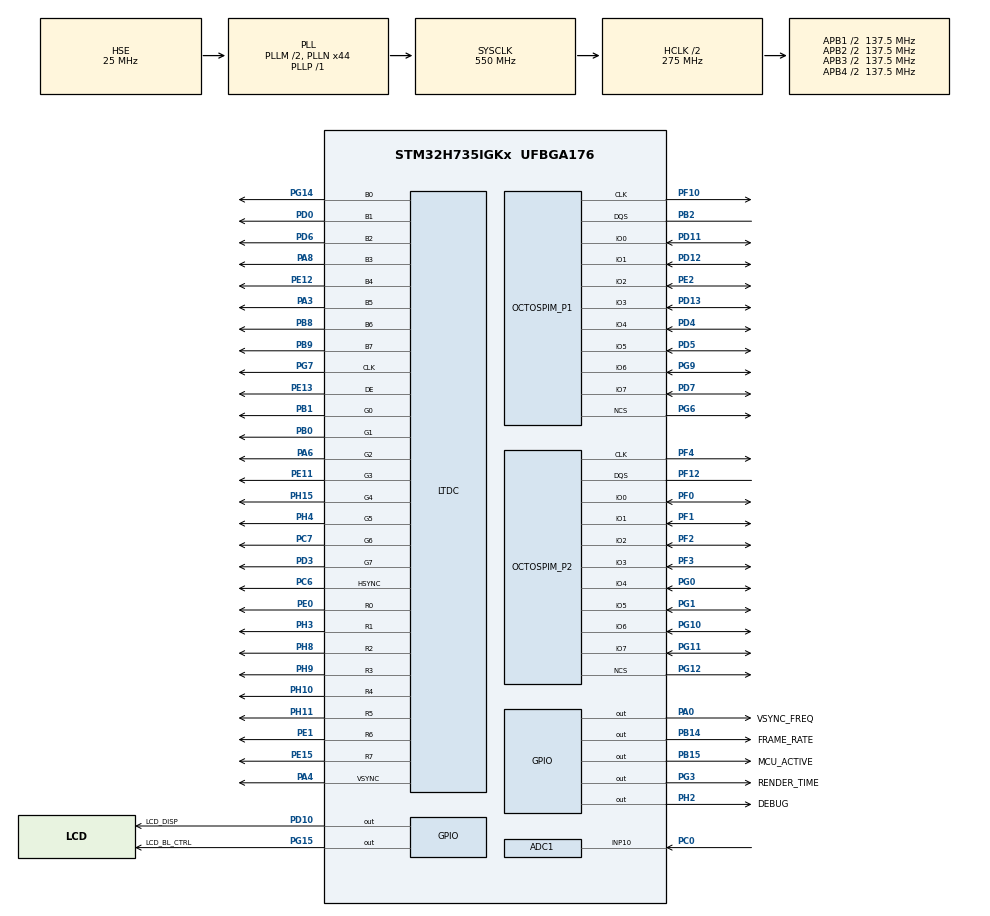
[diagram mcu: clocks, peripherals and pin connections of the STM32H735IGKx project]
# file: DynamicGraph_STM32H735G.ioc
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ADC1.Channel-0\#ChannelRegularConversion=ADC_CHANNEL_10
ADC1.ClockPrescaler=ADC_CLOCK_ASYNC_DIV4
ADC1.ContinuousConvMode=DISABLE
ADC1.ConversionDataManagement=ADC_CONVERSIONDATA_DMA_CIRCULAR
ADC1.ExternalTrigConv=ADC_EXTERNALTRIG_T15_TRGO
ADC1.NbrOfConversionFlag=1
ADC1.OffsetNumber-0\#ChannelRegularConversion=ADC_OFFSET_NONE
ADC1.OffsetSignedSaturation-0\#ChannelRegularConversion=DISABLE
ADC1.Overrun=ADC_OVR_DATA_OVERWRITTEN
ADC1.Rank-0\#ChannelRegularConversion=1
ADC1.SamplingTime-0\#ChannelRegularConversion=ADC_SAMPLETIME_16CYCLES_5
ADC1.master=1
CORTEX_M7.AccessPermission-Cortex_Memory_Protection_Unit_Region0_Settings=MPU_REGION_FULL_ACCESS
CORTEX_M7.AccessPermission-Cortex_Memory_Protection_Unit_Region2_Settings=MPU_REGION_FULL_ACCESS
CORTEX_M7.AccessPermission-Cortex_Memory_Protection_Unit_Region4_Settings=MPU_REGION_FULL_ACCESS
CORTEX_M7.BaseAddress-Cortex_Memory_Protection_Unit_Region0_Settings=0x24000000
CORTEX_M7.BaseAddress-Cortex_Memory_Protection_Unit_Region1_Settings=0x70000000
CORTEX_M7.BaseAddress-Cortex_Memory_Protection_Unit_Region2_Settings=0x70000000
CORTEX_M7.BaseAddress-Cortex_Memory_Protection_Unit_Region3_Settings=0x90000000
CORTEX_M7.BaseAddress-Cortex_Memory_Protection_Unit_Region4_Settings=0x90000000
CORTEX_M7.CPU_DCache=Enabled
CORTEX_M7.CPU_ICache=Enabled
CORTEX_M7.DisableExec-Cortex_Memory_Protection_Unit_Region0_Settings=MPU_INSTRUCTION_ACCESS_DISABLE
CORTEX_M7.DisableExec-Cortex_Memory_Protection_Unit_Region1_Settings=MPU_INSTRUCTION_ACCESS_DISABLE
CORTEX_M7.DisableExec-Cortex_Memory_Protection_Unit_Region2_Settings=MPU_INSTRUCTION_ACCESS_DISABLE
CORTEX_M7.DisableExec-Cortex_Memory_Protection_Unit_Region3_Settings=MPU_INSTRUCTION_ACCESS_DISABLE
CORTEX_M7.DisableExec-Cortex_Memory_Protection_Unit_Region4_Settings=MPU_INSTRUCTION_ACCESS_DISABLE
CORTEX_M7.Enable-Cortex_Memory_Protection_Unit_Region0_Settings=MPU_REGION_ENABLE
CORTEX_M7.Enable-Cortex_Memory_Protection_Unit_Region1_Settings=MPU_REGION_ENABLE
CORTEX_M7.Enable-Cortex_Memory_Protection_Unit_Region2_Settings=MPU_REGION_ENABLE
CORTEX_M7.Enable-Cortex_Memory_Protection_Unit_Region3_Settings=MPU_REGION_ENABLE
CORTEX_M7.Enable-Cortex_Memory_Protection_Unit_Region4_Settings=MPU_REGION_ENABLE
CORTEX_M7.IsBufferable-Cortex_Memory_Protection_Unit_Region0_Settings=MPU_ACCESS_BUFFERABLE
CORTEX_M7.IsBufferable-Cortex_Memory_Protection_Unit_Region2_Settings=MPU_ACCESS_BUFFERABLE
CORTEX_M7.IsCacheable-Cortex_Memory_Protection_Unit_Region0_Settings=MPU_ACCESS_CACHEABLE
CORTEX_M7.IsCacheable-Cortex_Memory_Protection_Unit_Region2_Settings=MPU_ACCESS_CACHEABLE
CORTEX_M7.IsCacheable-Cortex_Memory_Protection_Unit_Region4_Settings=MPU_ACCESS_CACHEABLE
CORTEX_M7.MPU_Control=MPU_PRIVILEGED_DEFAULT
CORTEX_M7.Size-Cortex_Memory_Protection_Unit_Region0_Settings=MPU_REGION_SIZE_512KB
CORTEX_M7.Size-Cortex_Memory_Protection_Unit_Region1_Settings=MPU_REGION_SIZE_512MB
CORTEX_M7.Size-Cortex_Memory_Protection_Unit_Region2_Settings=MPU_REGION_SIZE_8MB
CORTEX_M7.Size-Cortex_Memory_Protection_Unit_Region3_Settings=MPU_REGION_SIZE_512MB
CORTEX_M7.Size-Cortex_Memory_Protection_Unit_Region4_Settings=MPU_REGION_SIZE_64MB
DMA2D.ColorMode=DMA2D_OUTPUT_RGB888
DMA2D.Mode=DMA2D_R2M
Dma.ADC1.0.Direction=DMA_PERIPH_TO_MEMORY
Dma.ADC1.0.EventEnable=DISABLE
Dma.ADC1.0.FIFOMode=DMA_FIFOMODE_DISABLE
Dma.ADC1.0.Instance=DMA1_Stream0
Dma.ADC1.0.MemDataAlignment=DMA_MDATAALIGN_HALFWORD
Dma.ADC1.0.MemInc=DMA_MINC_ENABLE
Dma.ADC1.0.Mode=DMA_CIRCULAR
Dma.ADC1.0.PeriphDataAlignment=DMA_PDATAALIGN_HALFWORD
Dma.ADC1.0.PeriphInc=DMA_PINC_DISABLE
Dma.ADC1.0.Polarity=HAL_DMAMUX_REQ_GEN_RISING
Dma.ADC1.0.Priority=DMA_PRIORITY_LOW
Dma.ADC1.0.RequestNumber=1
Dma.ADC1.0.SignalID=NONE
Dma.ADC1.0.SyncEnable=DISABLE
Dma.ADC1.0.SyncPolarity=HAL_DMAMUX_SYNC_NO_EVENT
Dma.ADC1.0.SyncRequestNumber=1
Dma.ADC1.0.SyncSignalID=NONE
Dma.Request0=ADC1
FREERTOS.BinarySemaphores01=adcConvertCpltSem,Dynamic,NULL
FREERTOS.Queues01=adcDataQueue,32,uint16_t,0,Dynamic,NULL,NULL
FREERTOS.Tasks01=defaultTask,24,128,StartDefaultTask,Default,NULL,Dynamic,NULL,NULL;TouchGFXTask,24,1024,TouchGFX_Task,As external,NULL,Dynamic,NULL,NULL;AdcTask,24,1024,AdcTaskFunc,Default,NULL,Dynamic,NULL,NULL
FREERTOS.configTOTAL_HEAP_SIZE=75000
FREERTOS.configUSE_APPLICATION_TASK_TAG=1
FREERTOS.configUSE_IDLE_HOOK=1
FREERTOS.configUSE_NEWLIB_REENTRANT=1
LIBJPEG.RGB_ORDERING=BGR
LTDC.ActiveH=272
LTDC.ActiveW=480
LTDC.Alpha_L0=255
LTDC.FBStartAdress_L0=0x70000000
LTDC.FBStartAdress_L1=0x70000000
LTDC.HBP=13
LTDC.HFP=32
LTDC.HSync=41
LTDC.ImageHeight_L0=272
LTDC.ImageWidth_L0=480
LTDC.Layers=0
LTDC.PixelFormat_L0=LTDC_PIXEL_FORMAT_RGB888
LTDC.VSync=10
LTDC.WindowX1_L0=480
LTDC.WindowY1_L0=272
Mcu.Family=STM32H7
Mcu.Name=STM32H735IGKx
Mcu.Package=UFBGA176
NVIC.DMA1_Stream0_IRQn=true\:5\:0\:false\:false\:true\:true\:false\:true\:true
NVIC.DMA2D_IRQn=true\:5\:0\:true\:false\:true\:false\:true\:true\:true
NVIC.LTDC_IRQn=true\:5\:0\:true\:false\:true\:false\:true\:true\:true
NVIC.PriorityGroup=NVIC_PRIORITYGROUP_4
NVIC.TIM15_IRQn=true\:5\:0\:false\:false\:true\:true\:true\:true\:true
NVIC.TIM6_DAC_IRQn=true\:0\:0\:false\:false\:true\:false\:false\:true\:true
NVIC.TimeBase=TIM6_DAC_IRQn
NVIC.TimeBaseIP=TIM6
OCTOSPI1.ChipSelectBoundary=0
OCTOSPI1.ChipSelectHighTime=2
OCTOSPI1.ClockPrescaler=2
OCTOSPI1.FifoThreshold=4
OCTOSPI1.MemoryType=HAL_OSPI_MEMTYPE_MACRONIX
OCTOSPI2.AccessTime=6
OCTOSPI2.ChipSelectBoundary=23
OCTOSPI2.ChipSelectHighTime=4
OCTOSPI2.ClkChipSelectHighTime=0
OCTOSPI2.ClockPrescaler=2
OCTOSPI2.DelayBlockBypass=HAL_OSPI_DELAY_BLOCK_USED
OCTOSPI2.DelayHoldQuarterCycle=HAL_OSPI_DHQC_ENABLE
OCTOSPI2.DeviceSize=24
OCTOSPI2.FifoThreshold=4
OCTOSPI2.LatencyMode=HAL_OSPI_FIXED_LATENCY
OCTOSPI2.RWRecoveryTime=3
OCTOSPI2.Refresh=400
OCTOSPI2.WriteZeroLatency=HAL_OSPI_LATENCY_ON_WRITE
PA0.GPIO_Label=VSYNC_FREQ
PA0.GPIO_Speed=GPIO_SPEED_FREQ_VERY_HIGH
PA0.Signal=GPIO_Output
PA3.GPIO_Speed=GPIO_SPEED_FREQ_VERY_HIGH
PA3.Mode=RGB888
PA3.Signal=LTDC_B5
PA4.GPIO_Speed=GPIO_SPEED_FREQ_VERY_HIGH
PA4.Mode=RGB888
PA4.Signal=LTDC_VSYNC
PA6.GPIO_Speed=GPIO_SPEED_FREQ_VERY_HIGH
PA6.Mode=RGB888
PA6.Signal=LTDC_G2
PA8.GPIO_Speed=GPIO_SPEED_FREQ_VERY_HIGH
PA8.Mode=RGB888
PA8.Signal=LTDC_B3
PB0.GPIO_Speed=GPIO_SPEED_FREQ_VERY_HIGH
PB0.Mode=RGB888
PB0.Signal=LTDC_G1
PB1.GPIO_Speed=GPIO_SPEED_FREQ_VERY_HIGH
PB1.Mode=RGB888
PB1.Signal=LTDC_G0
PB14.GPIO_Label=FRAME_RATE
PB14.GPIO_Speed=GPIO_SPEED_FREQ_VERY_HIGH
PB14.Signal=GPIO_Output
PB15.GPIO_Label=MCU_ACTIVE
PB15.GPIO_Speed=GPIO_SPEED_FREQ_VERY_HIGH
PB15.Signal=GPIO_Output
PB2.Mode=OCTOSPI1_Port1_DQS
PB2.Signal=OCTOSPIM_P1_DQS
PB8.GPIO_Speed=GPIO_SPEED_FREQ_VERY_HIGH
PB8.Mode=RGB888
PB8.Signal=LTDC_B6
PB9.GPIO_Speed=GPIO_SPEED_FREQ_VERY_HIGH
PB9.Mode=RGB888
PB9.Signal=LTDC_B7
PC0.Signal=ADCx_INP10
PC6.GPIO_Speed=GPIO_SPEED_FREQ_VERY_HIGH
PC6.Mode=RGB888
PC6.Signal=LTDC_HSYNC
PC7.GPIO_Speed=GPIO_SPEED_FREQ_VERY_HIGH
PC7.Mode=RGB888
PC7.Signal=LTDC_G6
PD0.GPIO_Speed=GPIO_SPEED_FREQ_VERY_HIGH
PD0.Mode=RGB888
PD0.Signal=LTDC_B1
PD10.GPIO_Label=LCD_DISP
PD10.GPIO_PuPd=GPIO_NOPULL
PD10.GPIO_Speed=GPIO_SPEED_FREQ_LOW
PD10.PinState=GPIO_PIN_RESET
PD10.Signal=GPIO_Output
PD11.Mode=OCTOSPI1_IOL_Port1L
PD11.Signal=OCTOSPIM_P1_IO0
PD12.Mode=OCTOSPI1_IOL_Port1L
PD12.Signal=OCTOSPIM_P1_IO1
PD13.Mode=OCTOSPI1_IOL_Port1L
PD13.Signal=OCTOSPIM_P1_IO3
PD3.GPIO_Speed=GPIO_SPEED_FREQ_VERY_HIGH
PD3.Mode=RGB888
PD3.Signal=LTDC_G7
PD4.Mode=OCTOSPI1_IOH_Port1H
PD4.Signal=OCTOSPIM_P1_IO4
PD5.Mode=OCTOSPI1_IOH_Port1H
PD5.Signal=OCTOSPIM_P1_IO5
PD6.GPIO_Speed=GPIO_SPEED_FREQ_VERY_HIGH
PD6.Mode=RGB888
PD6.Signal=LTDC_B2
PD7.Mode=OCTOSPI1_IOH_Port1H
PD7.Signal=OCTOSPIM_P1_IO7
PE0.GPIO_Speed=GPIO_SPEED_FREQ_VERY_HIGH
PE0.Mode=RGB888
PE0.Signal=LTDC_R0
PE1.GPIO_Speed=GPIO_SPEED_FREQ_VERY_HIGH
PE1.Mode=RGB888
PE1.Signal=LTDC_R6
PE11.GPIO_Speed=GPIO_SPEED_FREQ_VERY_HIGH
PE11.Mode=RGB888
PE11.Signal=LTDC_G3
PE12.GPIO_Speed=GPIO_SPEED_FREQ_VERY_HIGH
PE12.Mode=RGB888
PE12.Signal=LTDC_B4
PE13.GPIO_Speed=GPIO_SPEED_FREQ_VERY_HIGH
PE13.Mode=RGB888
PE13.Signal=LTDC_DE
PE15.GPIO_Speed=GPIO_SPEED_FREQ_VERY_HIGH
PE15.Mode=RGB888
PE15.Signal=LTDC_R7
PE2.Mode=OCTOSPI1_IOL_Port1L
PE2.Signal=OCTOSPIM_P1_IO2
PF0.Mode=OCTOSPI2_IOL_Port2L
PF0.Signal=OCTOSPIM_P2_IO0
PF1.Mode=OCTOSPI2_IOL_Port2L
PF1.Signal=OCTOSPIM_P2_IO1
PF10.Mode=O1_P1_CLK
PF10.Signal=OCTOSPIM_P1_CLK
PF12.Mode=OCTOSPI2_Port2_DQS
PF12.Signal=OCTOSPIM_P2_DQS
PF2.Mode=OCTOSPI2_IOL_Port2L
PF2.Signal=OCTOSPIM_P2_IO2
PF3.Mode=OCTOSPI2_IOL_Port2L
PF3.Signal=OCTOSPIM_P2_IO3
PF4.Mode=O2_P2_CLK
PF4.Signal=OCTOSPIM_P2_CLK
PG0.Mode=OCTOSPI2_IOH_Port2H
PG0.Signal=OCTOSPIM_P2_IO4
PG1.Mode=OCTOSPI2_IOH_Port2H
PG1.Signal=OCTOSPIM_P2_IO5
PG10.Mode=OCTOSPI2_IOH_Port2H
PG10.Signal=OCTOSPIM_P2_IO6
PG11.Mode=OCTOSPI2_IOH_Port2H
PG11.Signal=OCTOSPIM_P2_IO7
PG12.Mode=OCTOSPI2_Port2_NCS
PG12.Signal=OCTOSPIM_P2_NCS
PG14.GPIO_Speed=GPIO_SPEED_FREQ_VERY_HIGH
PG14.Mode=RGB888
PG14.Signal=LTDC_B0
PG15.GPIO_Label=LCD_BL_CTRL
PG15.Signal=GPIO_Output
PG3.GPIO_Label=RENDER_TIME
PG3.GPIO_Speed=GPIO_SPEED_FREQ_VERY_HIGH
PG3.Signal=GPIO_Output
PG6.Mode=OCTOSPI1_Port1_NCS
PG6.Signal=OCTOSPIM_P1_NCS
PG7.GPIO_Speed=GPIO_SPEED_FREQ_VERY_HIGH
PG7.Mode=RGB888
PG7.Signal=LTDC_CLK
PG9.Mode=OCTOSPI1_IOH_Port1H
PG9.Signal=OCTOSPIM_P1_IO6
PH0-OSC_IN.Mode=HSE-External-Oscillator
PH0-OSC_IN.Signal=RCC_OSC_IN
PH1-OSC_OUT.Mode=HSE-External-Oscillator
PH1-OSC_OUT.Signal=RCC_OSC_OUT
PH10.GPIO_Speed=GPIO_SPEED_FREQ_VERY_HIGH
PH10.Mode=RGB888
PH10.Signal=LTDC_R4
PH11.GPIO_Speed=GPIO_SPEED_FREQ_VERY_HIGH
PH11.Mode=RGB888
PH11.Signal=LTDC_R5
PH15.GPIO_Speed=GPIO_SPEED_FREQ_VERY_HIGH
PH15.Mode=RGB888
PH15.Signal=LTDC_G4
PH2.GPIO_Label=DEBUG
PH2.GPIO_Speed=GPIO_SPEED_FREQ_VERY_HIGH
PH2.Signal=GPIO_Output
PH3.GPIO_Speed=GPIO_SPEED_FREQ_VERY_HIGH
PH3.Mode=RGB888
PH3.Signal=LTDC_R1
PH4.GPIO_Speed=GPIO_SPEED_FREQ_VERY_HIGH
PH4.Mode=RGB888
PH4.Signal=LTDC_G5
PH8.GPIO_Speed=GPIO_SPEED_FREQ_VERY_HIGH
PH8.Mode=RGB888
PH8.Signal=LTDC_R2
PH9.GPIO_Speed=GPIO_SPEED_FREQ_VERY_HIGH
PH9.Mode=RGB888
PH9.Signal=LTDC_R3
ProjectManager.HeapSize=0x1000
ProjectManager.StackSize=0x1000
ProjectManager.TargetToolchain=STM32CubeIDE
RCC.ADCFreq_Value=100000000
RCC.APB1Freq_Value=137500000
RCC.APB2Freq_Value=137500000
RCC.APB3Freq_Value=137500000
RCC.APB4Freq_Value=137500000
RCC.CortexFreq_Value=550000000
RCC.D1PPRE=RCC_APB3_DIV2
RCC.D2PPRE1=RCC_APB1_DIV2
RCC.D2PPRE2=RCC_APB2_DIV2
RCC.D3PPRE=RCC_APB4_DIV2
RCC.DIVM1=2
RCC.DIVM2=5
RCC.DIVM3=25
RCC.DIVN1=44
RCC.DIVN2=80
RCC.DIVN3=288
RCC.DIVP1=1
RCC.DIVP2=4
RCC.DIVR3=30
RCC.HCLKFreq_Value=275000000
RCC.HPRE=RCC_HCLK_DIV2
RCC.PLL2FRACN=0
RCC.PLL3FRACN=0
RCC.PLLFRACN=0
RCC.PLLSourceVirtual=RCC_PLLSOURCE_HSE
RCC.QSPICLockSelection=RCC_OSPICLKSOURCE_PLL2
RCC.SYSCLKFreq_VALUE=550000000
RCC.SYSCLKSource=RCC_SYSCLKSOURCE_PLLCLK
RCC.SupplySource=PWR_DIRECT_SMPS_SUPPLY
RCC.USBFreq_Value=275000000
SH.ADCx_INP10.0=ADC1_INP10,IN10-Single-Ended
STMicroelectronics.X-CUBE-TOUCHGFX.4.23.2.ApplicationCcGraphicsJjApplication=TouchGFXOoGenerator
STMicroelectronics.X-CUBE-TOUCHGFX.4.23.2.tgfx_address1=0x70000000
STMicroelectronics.X-CUBE-TOUCHGFX.4.23.2.tgfx_address2=0x70060000
STMicroelectronics.X-CUBE-TOUCHGFX.4.23.2.tgfx_buffering_strategy=Double
STMicroelectronics.X-CUBE-TOUCHGFX.4.23.2.tgfx_display_interface=disp_ltdc
STMicroelectronics.X-CUBE-TOUCHGFX.4.23.2.tgfx_hardware_accelerator=dma_2d
STMicroelectronics.X-CUBE-TOUCHGFX.4.23.2.tgfx_location=Allocate
STMicroelectronics.X-CUBE-TOUCHGFX.4.23.2.tgfx_vector_rendering=Disabled
STMicroelectronics.X-CUBE-TOUCHGFX.4.23.2.tgfx_video=Disabled
STMicroelectronics.X-CUBE-TOUCHGFX.4.23.2.tgfx_video_buffer_format=RGB888\:3
STMicroelectronics.X-CUBE-TOUCHGFX.4.23.2.tgfx_video_height=272
STMicroelectronics.X-CUBE-TOUCHGFX.4.23.2.tgfx_video_strategy=1
STMicroelectronics.X-CUBE-TOUCHGFX.4.23.2.tgfx_video_width=480
STMicroelectronics.X-CUBE-TOUCHGFX.4.23.2.tgfx_vsync=vsync_ltdc
TIM15.Period=159
TIM15.Prescaler=27499
TIM15.TIM_MasterOutputTrigger=TIM_TRGO_UPDATE
VP_CRC_VS_CRC.Mode=CRC_Activate
VP_DMA2D_VS_DMA2D.Mode=DMA2D_Activate
VP_FREERTOS_VS_CMSIS_V2.Mode=CMSIS_V2
VP_LIBJPEG_VS_JPEGLIB.Mode=Enabled
VP_OCTOSPI1_VS_octo.Mode=octo_mode
VP_OCTOSPI2_VS_octo.Mode=hyperbus_mode
VP_STMicroelectronics.X-CUBE-TOUCHGFX_VS_GraphicsJjApplication_4.23.2.Mode=GraphicsJjApplication
VP_SYS_VS_tim6.Mode=TIM6
VP_TIM15_VS_ClockSourceINT.Mode=Internal
board=custom

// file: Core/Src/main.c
/* USER CODE BEGIN Header */
/**
  ******************************************************************************
  * @file           : main.c
  * @brief          : Main program body
  ******************************************************************************
  * @attention
  *
  * <h2><center>&copy; Copyright (c) 2020 STMicroelectronics.
  * All rights reserved.</center></h2>
  *
  * This software component is licensed by ST under Ultimate Liberty license
  * SLA0044, the "License"; You may not use this file except in compliance with
  * the License. You may obtain a copy of the License at:
  *                             www.st.com/SLA0044
  *
  ******************************************************************************
  */
/* USER CODE END Header */
#include "main.h"
#include "cmsis_os.h"
#include "libjpeg.h"
#include "app_touchgfx.h"

/* USER CODE BEGIN Includes */
#include "stm32h735g_discovery_ospi.h"
#include "stm32h7xx_hal_ospi.h"
/* USER CODE END Includes */

ADC_HandleTypeDef hadc1;
DMA_HandleTypeDef hdma_adc1;

CRC_HandleTypeDef hcrc;

DMA2D_HandleTypeDef hdma2d;

LTDC_HandleTypeDef hltdc;

OSPI_HandleTypeDef hospi1;
OSPI_HandleTypeDef hospi2;

TIM_HandleTypeDef htim15;

/* Definitions for defaultTask */
osThreadId_t defaultTaskHandle;
const osThreadAttr_t defaultTask_attributes = {
  .name = "defaultTask",
  .stack_size = 128 * 4,
  .priority = (osPriority_t) osPriorityNormal,
};
/* Definitions for TouchGFXTask */
osThreadId_t TouchGFXTaskHandle;
const osThreadAttr_t TouchGFXTask_attributes = {
  .name = "TouchGFXTask",
  .stack_size = 1024 * 4,
  .priority = (osPriority_t) osPriorityNormal,
};
/* Definitions for AdcTask */
osThreadId_t AdcTaskHandle;
const osThreadAttr_t AdcTask_attributes = {
  .name = "AdcTask",
  .stack_size = 1024 * 4,
  .priority = (osPriority_t) osPriorityNormal,
};
/* Definitions for adcDataQueue */
osMessageQueueId_t adcDataQueueHandle;
const osMessageQueueAttr_t adcDataQueue_attributes = {
  .name = "adcDataQueue"
};
/* Definitions for adcConvertCpltSem */
osSemaphoreId_t adcConvertCpltSemHandle;
const osSemaphoreAttr_t adcConvertCpltSem_attributes = {
  .name = "adcConvertCpltSem"
};
/* USER CODE BEGIN PV */
uint32_t aADCxData;
/* USER CODE END PV */

void SystemClock_Config(void);
void PeriphCommonClock_Config(void);
static void MPU_Config(void);
static void MX_GPIO_Init(void);
static void MX_DMA_Init(void);
static void MX_DMA2D_Init(void);
static void MX_LTDC_Init(void);
static void MX_OCTOSPI1_Init(void);
static void MX_OCTOSPI2_Init(void);
static void MX_ADC1_Init(void);
static void MX_CRC_Init(void);
static void MX_TIM15_Init(void);
void StartDefaultTask(void *argument);
extern void TouchGFX_Task(void *argument);
void AdcTaskFunc(void *argument);

/* USER CODE BEGIN 0 */
void HAL_ADC_ConvCpltCallback(ADC_HandleTypeDef* hadc)
{
	HAL_GPIO_TogglePin(DEBUG_GPIO_Port, DEBUG_Pin);
    osSemaphoreRelease(adcConvertCpltSemHandle);
}

/* USER CODE END 0 */

int main(void)
{

  /* MPU Configuration--------------------------------------------------------*/
  MPU_Config();

  /* Enable the CPU Cache */

  /* Enable I-Cache---------------------------------------------------------*/
  SCB_EnableICache();

  /* Enable D-Cache---------------------------------------------------------*/
  SCB_EnableDCache();

  /* MCU Configuration--------------------------------------------------------*/

  /* Reset of all peripherals, Initializes the Flash interface and the Systick. */
  HAL_Init();

  /* Configure the system clock */
  SystemClock_Config();

/* Configure the peripherals common clocks */
  PeriphCommonClock_Config();

  /* Initialize all configured peripherals */
  MX_GPIO_Init();
  MX_DMA_Init();
  MX_DMA2D_Init();
  MX_LTDC_Init();
  MX_OCTOSPI1_Init();
  MX_OCTOSPI2_Init();
  MX_LIBJPEG_Init();
  MX_ADC1_Init();
  MX_CRC_Init();
  MX_TIM15_Init();
  MX_TouchGFX_Init();
  /* Call PreOsInit function */
  MX_TouchGFX_PreOSInit();

  /* Init scheduler */
  osKernelInitialize();

  /* Create the semaphores(s) */
  /* creation of adcConvertCpltSem */
  adcConvertCpltSemHandle = osSemaphoreNew(1, 0, &adcConvertCpltSem_attributes);

  /* Create the queue(s) */
  /* creation of adcDataQueue */
  adcDataQueueHandle = osMessageQueueNew (32, sizeof(uint16_t), &adcDataQueue_attributes);

  /* Create the thread(s) */
  /* creation of defaultTask */
  defaultTaskHandle = osThreadNew(StartDefaultTask, NULL, &defaultTask_attributes);

  /* creation of TouchGFXTask */
  TouchGFXTaskHandle = osThreadNew(TouchGFX_Task, NULL, &TouchGFXTask_attributes);

  /* creation of AdcTask */
  AdcTaskHandle = osThreadNew(AdcTaskFunc, NULL, &AdcTask_attributes);

  /* Start scheduler */
  osKernelStart();

  /* We should never get here as control is now taken by the scheduler */

  /* Infinite loop */
  while (1)
  {

  }
}

void SystemClock_Config(void)
{
  RCC_OscInitTypeDef RCC_OscInitStruct = {0};
  RCC_ClkInitTypeDef RCC_ClkInitStruct = {0};

  /** Supply configuration update enable
  */
  HAL_PWREx_ConfigSupply(PWR_DIRECT_SMPS_SUPPLY);

  /** Configure the main internal regulator output voltage
  */
  __HAL_PWR_VOLTAGESCALING_CONFIG(PWR_REGULATOR_VOLTAGE_SCALE0);

  while(!__HAL_PWR_GET_FLAG(PWR_FLAG_VOSRDY)) {}

  /** Initializes the RCC Oscillators according to the specified parameters
  * in the RCC_OscInitTypeDef structure.
  */
  RCC_OscInitStruct.OscillatorType = RCC_OSCILLATORTYPE_HSE;
  RCC_OscInitStruct.HSEState = RCC_HSE_ON;
  RCC_OscInitStruct.PLL.PLLState = RCC_PLL_ON;
  RCC_OscInitStruct.PLL.PLLSource = RCC_PLLSOURCE_HSE;
  RCC_OscInitStruct.PLL.PLLM = 2;
  RCC_OscInitStruct.PLL.PLLN = 44;
  RCC_OscInitStruct.PLL.PLLP = 1;
  RCC_OscInitStruct.PLL.PLLQ = 2;
  RCC_OscInitStruct.PLL.PLLR = 2;
  RCC_OscInitStruct.PLL.PLLRGE = RCC_PLL1VCIRANGE_3;
  RCC_OscInitStruct.PLL.PLLVCOSEL = RCC_PLL1VCOWIDE;
  RCC_OscInitStruct.PLL.PLLFRACN = 0;
  if (HAL_RCC_OscConfig(&RCC_OscInitStruct) != HAL_OK)
  {
    Error_Handler();
  }

  /** Initializes the CPU, AHB and APB buses clocks
  */
  RCC_ClkInitStruct.ClockType = RCC_CLOCKTYPE_HCLK|RCC_CLOCKTYPE_SYSCLK
                              |RCC_CLOCKTYPE_PCLK1|RCC_CLOCKTYPE_PCLK2
                              |RCC_CLOCKTYPE_D3PCLK1|RCC_CLOCKTYPE_D1PCLK1;
  RCC_ClkInitStruct.SYSCLKSource = RCC_SYSCLKSOURCE_PLLCLK;
  RCC_ClkInitStruct.SYSCLKDivider = RCC_SYSCLK_DIV1;
  RCC_ClkInitStruct.AHBCLKDivider = RCC_HCLK_DIV2;
  RCC_ClkInitStruct.APB3CLKDivider = RCC_APB3_DIV2;
  RCC_ClkInitStruct.APB1CLKDivider = RCC_APB1_DIV2;
  RCC_ClkInitStruct.APB2CLKDivider = RCC_APB2_DIV2;
  RCC_ClkInitStruct.APB4CLKDivider = RCC_APB4_DIV2;

  if (HAL_RCC_ClockConfig(&RCC_ClkInitStruct, FLASH_LATENCY_3) != HAL_OK)
  {
    Error_Handler();
  }
}

void PeriphCommonClock_Config(void)
{
  RCC_PeriphCLKInitTypeDef PeriphClkInitStruct = {0};

  /** Initializes the peripherals clock
  */
  PeriphClkInitStruct.PeriphClockSelection = RCC_PERIPHCLK_OSPI|RCC_PERIPHCLK_ADC;
  PeriphClkInitStruct.PLL2.PLL2M = 5;
  PeriphClkInitStruct.PLL2.PLL2N = 80;
  PeriphClkInitStruct.PLL2.PLL2P = 4;
  PeriphClkInitStruct.PLL2.PLL2Q = 2;
  PeriphClkInitStruct.PLL2.PLL2R = 2;
  PeriphClkInitStruct.PLL2.PLL2RGE = RCC_PLL2VCIRANGE_2;
  PeriphClkInitStruct.PLL2.PLL2VCOSEL = RCC_PLL2VCOWIDE;
  PeriphClkInitStruct.PLL2.PLL2FRACN = 0;
  PeriphClkInitStruct.OspiClockSelection = RCC_OSPICLKSOURCE_PLL2;
  PeriphClkInitStruct.AdcClockSelection = RCC_ADCCLKSOURCE_PLL2;
  if (HAL_RCCEx_PeriphCLKConfig(&PeriphClkInitStruct) != HAL_OK)
  {
    Error_Handler();
  }
}

static void MX_ADC1_Init(void)
{

  ADC_MultiModeTypeDef multimode = {0};
  ADC_ChannelConfTypeDef sConfig = {0};

  /** Common config
  */
  hadc1.Instance = ADC1;
  hadc1.Init.ClockPrescaler = ADC_CLOCK_ASYNC_DIV4;
  hadc1.Init.Resolution = ADC_RESOLUTION_16B;
  hadc1.Init.ScanConvMode = ADC_SCAN_DISABLE;
  hadc1.Init.EOCSelection = ADC_EOC_SINGLE_CONV;
  hadc1.Init.LowPowerAutoWait = DISABLE;
  hadc1.Init.ContinuousConvMode = DISABLE;
  hadc1.Init.NbrOfConversion = 1;
  hadc1.Init.DiscontinuousConvMode = DISABLE;
  hadc1.Init.ExternalTrigConv = ADC_EXTERNALTRIG_T15_TRGO;
  hadc1.Init.ExternalTrigConvEdge = ADC_EXTERNALTRIGCONVEDGE_RISING;
  hadc1.Init.ConversionDataManagement = ADC_CONVERSIONDATA_DMA_CIRCULAR;
  hadc1.Init.Overrun = ADC_OVR_DATA_OVERWRITTEN;
  hadc1.Init.LeftBitShift = ADC_LEFTBITSHIFT_NONE;
  hadc1.Init.OversamplingMode = DISABLE;
  if (HAL_ADC_Init(&hadc1) != HAL_OK)
  {
    Error_Handler();
  }

  /** Configure the ADC multi-mode
  */
  multimode.Mode = ADC_MODE_INDEPENDENT;
  if (HAL_ADCEx_MultiModeConfigChannel(&hadc1, &multimode) != HAL_OK)
  {
    Error_Handler();
  }

  /** Configure Regular Channel
  */
  sConfig.Channel = ADC_CHANNEL_10;
  sConfig.Rank = ADC_REGULAR_RANK_1;
  sConfig.SamplingTime = ADC_SAMPLETIME_16CYCLES_5;
  sConfig.SingleDiff = ADC_SINGLE_ENDED;
  sConfig.OffsetNumber = ADC_OFFSET_NONE;
  sConfig.Offset = 0;
  sConfig.OffsetSignedSaturation = DISABLE;
  if (HAL_ADC_ConfigChannel(&hadc1, &sConfig) != HAL_OK)
  {
    Error_Handler();
  }
  /* USER CODE BEGIN ADC1_Init 2 */
  if(HAL_ADCEx_Calibration_Start(&hadc1, ADC_CALIB_OFFSET, ADC_SINGLE_ENDED) != HAL_OK)
  {
	  Error_Handler();
  }
  /* USER CODE END ADC1_Init 2 */

}

static void MX_CRC_Init(void)
{

  hcrc.Instance = CRC;
  hcrc.Init.DefaultPolynomialUse = DEFAULT_POLYNOMIAL_ENABLE;
  hcrc.Init.DefaultInitValueUse = DEFAULT_INIT_VALUE_ENABLE;
  hcrc.Init.InputDataInversionMode = CRC_INPUTDATA_INVERSION_NONE;
  hcrc.Init.OutputDataInversionMode = CRC_OUTPUTDATA_INVERSION_DISABLE;
  hcrc.InputDataFormat = CRC_INPUTDATA_FORMAT_BYTES;
  if (HAL_CRC_Init(&hcrc) != HAL_OK)
  {
    Error_Handler();
  }

}

static void MX_DMA2D_Init(void)
{

  hdma2d.Instance = DMA2D;
  hdma2d.Init.Mode = DMA2D_R2M;
  hdma2d.Init.ColorMode = DMA2D_OUTPUT_RGB888;
  hdma2d.Init.OutputOffset = 0;
  if (HAL_DMA2D_Init(&hdma2d) != HAL_OK)
  {
    Error_Handler();
  }

}

static void MX_LTDC_Init(void)
{

  LTDC_LayerCfgTypeDef pLayerCfg = {0};

  hltdc.Instance = LTDC;
  hltdc.Init.HSPolarity = LTDC_HSPOLARITY_AL;
  hltdc.Init.VSPolarity = LTDC_VSPOLARITY_AL;
  hltdc.Init.DEPolarity = LTDC_DEPOLARITY_AL;
  hltdc.Init.PCPolarity = LTDC_PCPOLARITY_IPC;
  hltdc.Init.HorizontalSync = 40;
  hltdc.Init.VerticalSync = 9;
  hltdc.Init.AccumulatedHBP = 53;
  hltdc.Init.AccumulatedVBP = 11;
  hltdc.Init.AccumulatedActiveW = 533;
  hltdc.Init.AccumulatedActiveH = 283;
  hltdc.Init.TotalWidth = 565;
  hltdc.Init.TotalHeigh = 285;
  hltdc.Init.Backcolor.Blue = 0;
  hltdc.Init.Backcolor.Green = 0;
  hltdc.Init.Backcolor.Red = 0;
  if (HAL_LTDC_Init(&hltdc) != HAL_OK)
  {
    Error_Handler();
  }
  pLayerCfg.WindowX0 = 0;
  pLayerCfg.WindowX1 = 480;
  pLayerCfg.WindowY0 = 0;
  pLayerCfg.WindowY1 = 272;
  pLayerCfg.PixelFormat = LTDC_PIXEL_FORMAT_RGB888;
  pLayerCfg.Alpha = 255;
  pLayerCfg.Alpha0 = 0;
  pLayerCfg.BlendingFactor1 = LTDC_BLENDING_FACTOR1_CA;
  pLayerCfg.BlendingFactor2 = LTDC_BLENDING_FACTOR2_CA;
  pLayerCfg.FBStartAdress = 0x70000000;
  pLayerCfg.ImageWidth = 480;
  pLayerCfg.ImageHeight = 272;
  pLayerCfg.Backcolor.Blue = 0;
  pLayerCfg.Backcolor.Green = 0;
  pLayerCfg.Backcolor.Red = 0;
  if (HAL_LTDC_ConfigLayer(&hltdc, &pLayerCfg, 0) != HAL_OK)
  {
    Error_Handler();
  }

}

static void MX_OCTOSPI1_Init(void)
{

  /* USER CODE BEGIN OCTOSPI1_Init 0 */
  BSP_OSPI_NOR_Init_t ospi_nor_int;
  /* USER CODE END OCTOSPI1_Init 0 */

  OSPIM_CfgTypeDef sOspiManagerCfg = {0};

  /* OCTOSPI1 parameter configuration*/
  hospi1.Instance = OCTOSPI1;
  hospi1.Init.FifoThreshold = 4;
  hospi1.Init.DualQuad = HAL_OSPI_DUALQUAD_DISABLE;
  hospi1.Init.MemoryType = HAL_OSPI_MEMTYPE_MACRONIX;
  hospi1.Init.DeviceSize = 32;
  hospi1.Init.ChipSelectHighTime = 2;
  hospi1.Init.FreeRunningClock = HAL_OSPI_FREERUNCLK_DISABLE;
  hospi1.Init.ClockMode = HAL_OSPI_CLOCK_MODE_0;
  hospi1.Init.WrapSize = HAL_OSPI_WRAP_NOT_SUPPORTED;
  hospi1.Init.ClockPrescaler = 2;
  hospi1.Init.SampleShifting = HAL_OSPI_SAMPLE_SHIFTING_NONE;
  hospi1.Init.DelayHoldQuarterCycle = HAL_OSPI_DHQC_DISABLE;
  hospi1.Init.ChipSelectBoundary = 0;
  hospi1.Init.DelayBlockBypass = HAL_OSPI_DELAY_BLOCK_BYPASSED;
  hospi1.Init.MaxTran = 0;
  hospi1.Init.Refresh = 0;
  if (HAL_OSPI_Init(&hospi1) != HAL_OK)
  {
    Error_Handler();
  }
  sOspiManagerCfg.ClkPort = 1;
  sOspiManagerCfg.DQSPort = 1;
  sOspiManagerCfg.NCSPort = 1;
  sOspiManagerCfg.IOLowPort = HAL_OSPIM_IOPORT_1_LOW;
  sOspiManagerCfg.IOHighPort = HAL_OSPIM_IOPORT_1_HIGH;
  if (HAL_OSPIM_Config(&hospi1, &sOspiManagerCfg, HAL_OSPI_TIMEOUT_DEFAULT_VALUE) != HAL_OK)
  {
    Error_Handler();
  }
  /* USER CODE BEGIN OCTOSPI1_Init 2 */
  HAL_OSPI_DeInit(&hospi1);
  ospi_nor_int.InterfaceMode = BSP_OSPI_NOR_OPI_MODE;
  ospi_nor_int.TransferRate  = BSP_OSPI_NOR_DTR_TRANSFER;
  BSP_OSPI_NOR_DeInit(0);
  if(BSP_OSPI_NOR_Init(0, &ospi_nor_int) != BSP_ERROR_NONE)
  {
    Error_Handler();
  }
  if(BSP_OSPI_NOR_EnableMemoryMappedMode(0) != BSP_ERROR_NONE)
  {
    Error_Handler();
  }
  /* USER CODE END OCTOSPI1_Init 2 */

}

static void MX_OCTOSPI2_Init(void)
{

  /* USER CODE BEGIN OCTOSPI2_Init 0 */
  BSP_OSPI_RAM_Init_t ospi_ram_init;
  /* USER CODE END OCTOSPI2_Init 0 */

  OSPIM_CfgTypeDef sOspiManagerCfg = {0};
  OSPI_HyperbusCfgTypeDef sHyperBusCfg = {0};

  /* USER CODE BEGIN OCTOSPI2_Init 1 */
  OSPI_HyperbusCmdTypeDef sCommand = {0};
  OSPI_MemoryMappedTypeDef sMemMappedCfg = {0};
  /* USER CODE END OCTOSPI2_Init 1 */
  /* OCTOSPI2 parameter configuration*/
  hospi2.Instance = OCTOSPI2;
  hospi2.Init.FifoThreshold = 4;
  hospi2.Init.DualQuad = HAL_OSPI_DUALQUAD_DISABLE;
  hospi2.Init.MemoryType = HAL_OSPI_MEMTYPE_HYPERBUS;
  hospi2.Init.DeviceSize = 24;
  hospi2.Init.ChipSelectHighTime = 4;
  hospi2.Init.FreeRunningClock = HAL_OSPI_FREERUNCLK_DISABLE;
  hospi2.Init.ClockMode = HAL_OSPI_CLOCK_MODE_0;
  hospi2.Init.WrapSize = HAL_OSPI_WRAP_NOT_SUPPORTED;
  hospi2.Init.ClockPrescaler = 2;
  hospi2.Init.SampleShifting = HAL_OSPI_SAMPLE_SHIFTING_NONE;
  hospi2.Init.DelayHoldQuarterCycle = HAL_OSPI_DHQC_ENABLE;
  hospi2.Init.ChipSelectBoundary = 23;
  hospi2.Init.DelayBlockBypass = HAL_OSPI_DELAY_BLOCK_USED;
  hospi2.Init.MaxTran = 0;
  hospi2.Init.Refresh = 400;
  if (HAL_OSPI_Init(&hospi2) != HAL_OK)
  {
    Error_Handler();
  }
  sOspiManagerCfg.ClkPort = 2;
  sOspiManagerCfg.DQSPort = 2;
  sOspiManagerCfg.NCSPort = 2;
  sOspiManagerCfg.IOLowPort = HAL_OSPIM_IOPORT_2_LOW;
  sOspiManagerCfg.IOHighPort = HAL_OSPIM_IOPORT_2_HIGH;
  if (HAL_OSPIM_Config(&hospi2, &sOspiManagerCfg, HAL_OSPI_TIMEOUT_DEFAULT_VALUE) != HAL_OK)
  {
    Error_Handler();
  }
  sHyperBusCfg.RWRecoveryTime = 3;
  sHyperBusCfg.AccessTime = 6;
  sHyperBusCfg.WriteZeroLatency = HAL_OSPI_LATENCY_ON_WRITE;
  sHyperBusCfg.LatencyMode = HAL_OSPI_FIXED_LATENCY;
  if (HAL_OSPI_HyperbusCfg(&hospi2, &sHyperBusCfg, HAL_OSPI_TIMEOUT_DEFAULT_VALUE) != HAL_OK)
  {
    Error_Handler();
  }
  /* USER CODE BEGIN OCTOSPI2_Init 2 */
  sCommand.AddressSpace = HAL_OSPI_MEMORY_ADDRESS_SPACE;
  sCommand.AddressSize  = HAL_OSPI_ADDRESS_32_BITS;
  sCommand.DQSMode      = HAL_OSPI_DQS_ENABLE;
  sCommand.Address      = 0;
  sCommand.NbData       = 1;

  if (HAL_OSPI_HyperbusCmd(&hospi2, &sCommand, HAL_OSPI_TIMEOUT_DEFAULT_VALUE) != HAL_OK)
  {
    Error_Handler();
  }

  sMemMappedCfg.TimeOutActivation = HAL_OSPI_TIMEOUT_COUNTER_DISABLE;

  if (HAL_OSPI_MemoryMapped(&hospi2, &sMemMappedCfg) != HAL_OK)
  {
    Error_Handler();
  }

  /* USER CODE END OCTOSPI2_Init 2 */

}

static void MX_TIM15_Init(void)
{

  TIM_ClockConfigTypeDef sClockSourceConfig = {0};
  TIM_MasterConfigTypeDef sMasterConfig = {0};

  htim15.Instance = TIM15;
  htim15.Init.Prescaler = 27499;
  htim15.Init.CounterMode = TIM_COUNTERMODE_UP;
  htim15.Init.Period = 159;
  htim15.Init.ClockDivision = TIM_CLOCKDIVISION_DIV1;
  htim15.Init.RepetitionCounter = 0;
  htim15.Init.AutoReloadPreload = TIM_AUTORELOAD_PRELOAD_DISABLE;
  if (HAL_TIM_Base_Init(&htim15) != HAL_OK)
  {
    Error_Handler();
  }
  sClockSourceConfig.ClockSource = TIM_CLOCKSOURCE_INTERNAL;
  if (HAL_TIM_ConfigClockSource(&htim15, &sClockSourceConfig) != HAL_OK)
  {
    Error_Handler();
  }
  sMasterConfig.MasterOutputTrigger = TIM_TRGO_UPDATE;
  sMasterConfig.MasterSlaveMode = TIM_MASTERSLAVEMODE_DISABLE;
  if (HAL_TIMEx_MasterConfigSynchronization(&htim15, &sMasterConfig) != HAL_OK)
  {
    Error_Handler();
  }

}

static void MX_DMA_Init(void)
{

  /* DMA controller clock enable */
  __HAL_RCC_DMA1_CLK_ENABLE();

  /* DMA interrupt init */
  /* DMA1_Stream0_IRQn interrupt configuration */
  HAL_NVIC_SetPriority(DMA1_Stream0_IRQn, 5, 0);
  HAL_NVIC_EnableIRQ(DMA1_Stream0_IRQn);

}

static void MX_GPIO_Init(void)
{
  GPIO_InitTypeDef GPIO_InitStruct = {0};

  /* GPIO Ports Clock Enable */
  __HAL_RCC_GPIOB_CLK_ENABLE();
  __HAL_RCC_GPIOG_CLK_ENABLE();
  __HAL_RCC_GPIOD_CLK_ENABLE();
  __HAL_RCC_GPIOE_CLK_ENABLE();
  __HAL_RCC_GPIOA_CLK_ENABLE();
  __HAL_RCC_GPIOH_CLK_ENABLE();
  __HAL_RCC_GPIOC_CLK_ENABLE();
  __HAL_RCC_GPIOF_CLK_ENABLE();

  /*Configure GPIO pin Output Level */
  HAL_GPIO_WritePin(GPIOG, LCD_BL_CTRL_Pin|RENDER_TIME_Pin, GPIO_PIN_RESET);

  /*Configure GPIO pin Output Level */
  HAL_GPIO_WritePin(GPIOB, MCU_ACTIVE_Pin|FRAME_RATE_Pin, GPIO_PIN_RESET);

  /*Configure GPIO pin Output Level */
  HAL_GPIO_WritePin(LCD_DISP_GPIO_Port, LCD_DISP_Pin, GPIO_PIN_RESET);

  /*Configure GPIO pin Output Level */
  HAL_GPIO_WritePin(DEBUG_GPIO_Port, DEBUG_Pin, GPIO_PIN_RESET);

  /*Configure GPIO pin Output Level */
  HAL_GPIO_WritePin(VSYNC_FREQ_GPIO_Port, VSYNC_FREQ_Pin, GPIO_PIN_RESET);

  /*Configure GPIO pin : LCD_BL_CTRL_Pin */
  GPIO_InitStruct.Pin = LCD_BL_CTRL_Pin;
  GPIO_InitStruct.Mode = GPIO_MODE_OUTPUT_PP;
  GPIO_InitStruct.Pull = GPIO_NOPULL;
  GPIO_InitStruct.Speed = GPIO_SPEED_FREQ_LOW;
  HAL_GPIO_Init(LCD_BL_CTRL_GPIO_Port, &GPIO_InitStruct);

  /*Configure GPIO pin : RENDER_TIME_Pin */
  GPIO_InitStruct.Pin = RENDER_TIME_Pin;
  GPIO_InitStruct.Mode = GPIO_MODE_OUTPUT_PP;
  GPIO_InitStruct.Pull = GPIO_NOPULL;
  GPIO_InitStruct.Speed = GPIO_SPEED_FREQ_VERY_HIGH;
  HAL_GPIO_Init(RENDER_TIME_GPIO_Port, &GPIO_InitStruct);

  /*Configure GPIO pins : MCU_ACTIVE_Pin FRAME_RATE_Pin */
  GPIO_InitStruct.Pin = MCU_ACTIVE_Pin|FRAME_RATE_Pin;
  GPIO_InitStruct.Mode = GPIO_MODE_OUTPUT_PP;
  GPIO_InitStruct.Pull = GPIO_NOPULL;
  GPIO_InitStruct.Speed = GPIO_SPEED_FREQ_VERY_HIGH;
  HAL_GPIO_Init(GPIOB, &GPIO_InitStruct);

  /*Configure GPIO pin : LCD_DISP_Pin */
  GPIO_InitStruct.Pin = LCD_DISP_Pin;
  GPIO_InitStruct.Mode = GPIO_MODE_OUTPUT_PP;
  GPIO_InitStruct.Pull = GPIO_NOPULL;
  GPIO_InitStruct.Speed = GPIO_SPEED_FREQ_LOW;
  HAL_GPIO_Init(LCD_DISP_GPIO_Port, &GPIO_InitStruct);

  /*Configure GPIO pin : DEBUG_Pin */
  GPIO_InitStruct.Pin = DEBUG_Pin;
  GPIO_InitStruct.Mode = GPIO_MODE_OUTPUT_PP;
  GPIO_InitStruct.Pull = GPIO_NOPULL;
  GPIO_InitStruct.Speed = GPIO_SPEED_FREQ_VERY_HIGH;
  HAL_GPIO_Init(DEBUG_GPIO_Port, &GPIO_InitStruct);

  /*Configure GPIO pin : VSYNC_FREQ_Pin */
  GPIO_InitStruct.Pin = VSYNC_FREQ_Pin;
  GPIO_InitStruct.Mode = GPIO_MODE_OUTPUT_PP;
  GPIO_InitStruct.Pull = GPIO_NOPULL;
  GPIO_InitStruct.Speed = GPIO_SPEED_FREQ_VERY_HIGH;
  HAL_GPIO_Init(VSYNC_FREQ_GPIO_Port, &GPIO_InitStruct);

}

void StartDefaultTask(void *argument)
{
  /* USER CODE BEGIN 5 */
  /* Infinite loop */
  for(;;)
  {
    osDelay(100);
  }
  /* USER CODE END 5 */
}

void AdcTaskFunc(void *argument)
{
  /* USER CODE BEGIN AdcTaskFunc */
  osStatus_t osStatus;

  HAL_TIM_Base_Start(&htim15);
  HAL_ADC_Start_DMA(&hadc1, &aADCxData, 1);

  /* Infinite loop */
  for(;;)
  {
      if(adcConvertCpltSemHandle != NULL){
          osStatus = osSemaphoreAcquire(adcConvertCpltSemHandle, osWaitForever);
          if(osStatus == osOK){
              aADCxData = HAL_ADC_GetValue(&hadc1);
              osMessageQueuePut(adcDataQueueHandle, &aADCxData, 0, 100U);
          }
      }
      osDelay(1);
  }
  /* USER CODE END AdcTaskFunc */
}

 /* MPU Configuration */

void MPU_Config(void)
{
  MPU_Region_InitTypeDef MPU_InitStruct = {0};

  /* Disables the MPU */
  HAL_MPU_Disable();

  /** Initializes and configures the Region and the memory to be protected
  */
  MPU_InitStruct.Enable = MPU_REGION_ENABLE;
  MPU_InitStruct.Number = MPU_REGION_NUMBER0;
  MPU_InitStruct.BaseAddress = 0x24000000;
  MPU_InitStruct.Size = MPU_REGION_SIZE_512KB;
  MPU_InitStruct.SubRegionDisable = 0x0;
  MPU_InitStruct.TypeExtField = MPU_TEX_LEVEL0;
  MPU_InitStruct.AccessPermission = MPU_REGION_FULL_ACCESS;
  MPU_InitStruct.DisableExec = MPU_INSTRUCTION_ACCESS_DISABLE;
  MPU_InitStruct.IsShareable = MPU_ACCESS_NOT_SHAREABLE;
  MPU_InitStruct.IsCacheable = MPU_ACCESS_CACHEABLE;
  MPU_InitStruct.IsBufferable = MPU_ACCESS_BUFFERABLE;

  HAL_MPU_ConfigRegion(&MPU_InitStruct);

  /** Initializes and configures the Region and the memory to be protected
  */
  MPU_InitStruct.Number = MPU_REGION_NUMBER1;
  MPU_InitStruct.BaseAddress = 0x70000000;
  MPU_InitStruct.Size = MPU_REGION_SIZE_512MB;
  MPU_InitStruct.AccessPermission = MPU_REGION_NO_ACCESS;
  MPU_InitStruct.IsCacheable = MPU_ACCESS_NOT_CACHEABLE;
  MPU_InitStruct.IsBufferable = MPU_ACCESS_NOT_BUFFERABLE;

  HAL_MPU_ConfigRegion(&MPU_InitStruct);

  /** Initializes and configures the Region and the memory to be protected
  */
  MPU_InitStruct.Number = MPU_REGION_NUMBER2;
  MPU_InitStruct.Size = MPU_REGION_SIZE_8MB;
  MPU_InitStruct.AccessPermission = MPU_REGION_FULL_ACCESS;
  MPU_InitStruct.IsCacheable = MPU_ACCESS_CACHEABLE;
  MPU_InitStruct.IsBufferable = MPU_ACCESS_BUFFERABLE;

  HAL_MPU_ConfigRegion(&MPU_InitStruct);

  /** Initializes and configures the Region and the memory to be protected
  */
  MPU_InitStruct.Number = MPU_REGION_NUMBER3;
  MPU_InitStruct.BaseAddress = 0x90000000;
  MPU_InitStruct.Size = MPU_REGION_SIZE_512MB;
  MPU_InitStruct.AccessPermission = MPU_REGION_NO_ACCESS;
  MPU_InitStruct.IsCacheable = MPU_ACCESS_NOT_CACHEABLE;
  MPU_InitStruct.IsBufferable = MPU_ACCESS_NOT_BUFFERABLE;

  HAL_MPU_ConfigRegion(&MPU_InitStruct);

  /** Initializes and configures the Region and the memory to be protected
  */
  MPU_InitStruct.Number = MPU_REGION_NUMBER4;
  MPU_InitStruct.Size = MPU_REGION_SIZE_64MB;
  MPU_InitStruct.AccessPermission = MPU_REGION_FULL_ACCESS;
  MPU_InitStruct.IsCacheable = MPU_ACCESS_CACHEABLE;

  HAL_MPU_ConfigRegion(&MPU_InitStruct);
  /* Enables the MPU */
  HAL_MPU_Enable(MPU_PRIVILEGED_DEFAULT);

}

void HAL_TIM_PeriodElapsedCallback(TIM_HandleTypeDef *htim)
{
  if (htim->Instance == TIM6) {
    HAL_IncTick();
  }
}

void Error_Handler(void)
{
}
